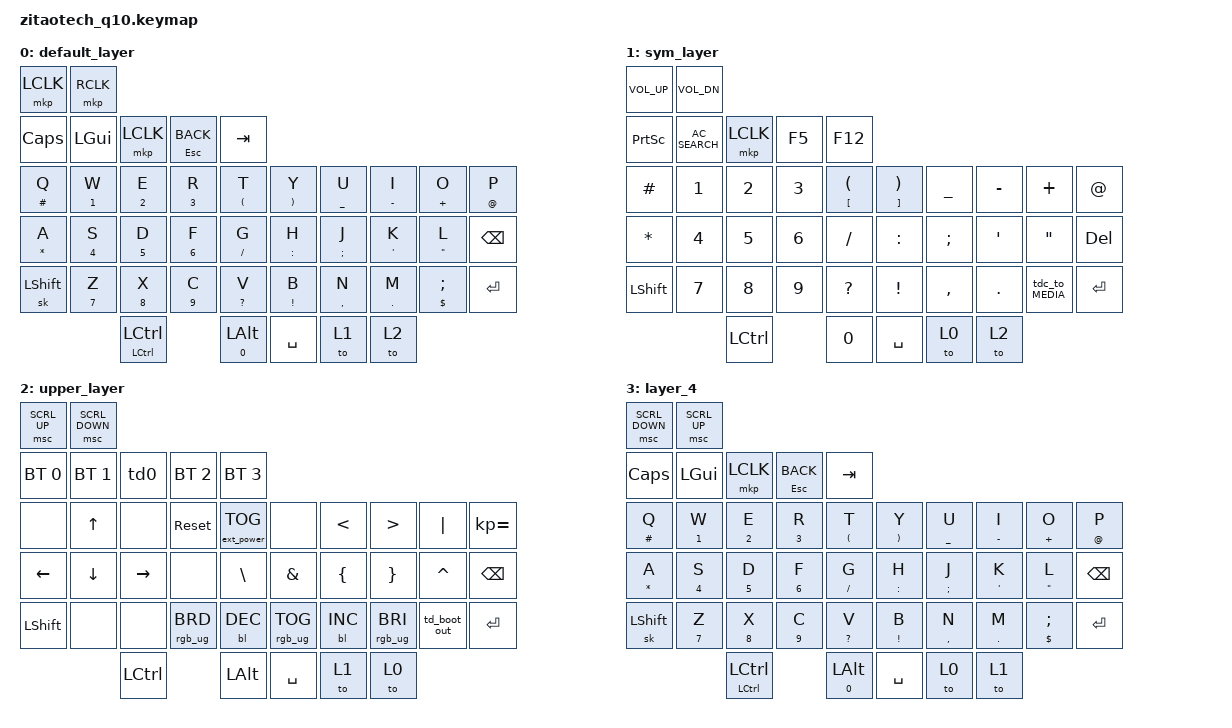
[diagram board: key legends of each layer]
/*
 * Copyright (c) 2023 ZitaoTech
 *
 * SPDX-License-Identifier: MIT
 */

#include <dt-bindings/zmk/mouse.h>
#include <zephyr/dt-bindings/input/input-event-codes.h>
#include <behaviors.dtsi>
#include <dt-bindings/zmk/backlight.h>
#include <dt-bindings/zmk/bt.h>
#include <dt-bindings/zmk/ext_power.h>
#include <dt-bindings/zmk/keys.h>
#include <dt-bindings/zmk/outputs.h>
#include <dt-bindings/zmk/pointing.h>
#include <dt-bindings/zmk/rgb.h>

#define DEFAULT 0
#define SYM 1
#define UPPER 2
#define MEDIA 3

#define SL_TO(layer) &sl_to layer layer //tap -> sticky layer, double tap -> to layer

&sl { release-after-ms = <3000>; };

/ {
    behaviors {
        num_tap: num_tap_behavior {
            compatible = "zmk,behavior-hold-tap";
            label = "NUM_TAP";
            #binding-cells = <2>;
            flavor = "tap-preferred";   // Prevents accidental numbers while typing fast
            tapping-term-ms = <200>;     // How long to hold before the number fires
            bindings = <&kp>, <&kp>;

            // Accepts two standard keypresses
        };
    };

    behaviors {
        td0: tap_dance_0 {
            compatible = "zmk,behavior-tap-dance";
            #binding-cells = <0>;
            tapping-term-ms = <400>;
            bindings = <&mkp LCLK>, <&bt BT_CLR>;
        };
    };

    behaviors {
        td_boot_out: td_boot_out {
            compatible = "zmk,behavior-tap-dance";
            #binding-cells = <0>;
            tapping-term-ms = <400>;
            bindings = <&bootloader>, <&out OUT_TOG>;
        };
    };

    behaviors {
        tdc_to_SYM: td_comma_to_layer {
            compatible = "zmk,behavior-tap-dance";
            #binding-cells = <0>;
            tapping-term-ms = <400>;
            bindings = <&mt DLLR SEMI>, <&to 1>;
        };
    };

    behaviors {
        tdc_to_MEDIA: td_mute_to_layer {
            compatible = "zmk,behavior-tap-dance";
            #binding-cells = <0>;
            tapping-term-ms = <400>;
            bindings = <&kp C_MUTE>, <&to 0>;
        };
    };

    behaviors {
        td1: tap_stickylayer_doubletap_tolayer_1 {
            compatible = "zmk,behavior-tap-dance";
            #binding-cells = <0>;
            tapping-term-ms = <400>;
            bindings = <&sl 1>, <&to 1>;
        };
    };

    behaviors {
        td2: tap_stickylayer_doubletap_tolayer_2 {
            compatible = "zmk,behavior-tap-dance";
            #binding-cells = <0>;
            tapping-term-ms = <400>;
            bindings = <&sl 2>, <&to 2>;
        };
    };

    behaviors {
        sk_kp: behavior_sk_kp {
            compatible = "zmk,behavior-hold-tap";
            #binding-cells = <2>;
            flavor = "hold-preferred";
            tapping-term-ms = <400>;
            bindings = <&kp &sk>;          /* hold=kp, tap=sticky key */
        };
    };

    behaviors {
        hm: homerow_mods {
            compatible = "zmk,behavior-hold-tap";
            #binding-cells = <2>;
            tapping-term-ms = <500>;
            bindings = <&out &kp>;
        };
    };

    keymap {
        compatible = "zmk,keymap";

        default_layer {
            bindings = <
&mkp LCLK            &mkp RCLK
&kp CLCK             &kp LGUI       &mkp LCLK           &mt ESC K_BACK       &kp TAB
&num_tap HASH Q      &num_tap N1 W  &num_tap N2 E       &num_tap NUMBER_3 R  &num_tap LEFT_PARENTHESIS T  &num_tap RIGHT_PARENTHESIS Y    &num_tap UNDERSCORE U  &num_tap MINUS I       &num_tap PLUS O           &num_tap AT_SIGN P
&num_tap ASTERISK A  &num_tap N4 S  &num_tap N5 D       &num_tap N6 F        &num_tap SLASH G             &num_tap COLON H                &num_tap SEMICOLON J   &num_tap APOSTROPHE K  &num_tap DOUBLE_QUOTES L  &kp BSPC
&sk LSHFT            &num_tap N7 Z  &num_tap N8 X       &num_tap N9 C        &num_tap QUESTION V          &num_tap EXCLAMATION B          &num_tap COMMA N       &num_tap PERIOD M      &mt DLLR SEMI             &kp ENTER
                                    &sk_kp LCTRL LCTRL                       &num_tap N0 LALT             &kp SPACE                       &to 1                  &to 2
            >;
        };

        sym_layer {
            bindings = <
&kp C_VOL_UP  &kp C_VOL_DN
&kp PSCRN     &kp C_AC_SEARCH  &mkp LCLK  &kp F5  &kp F12
&kp HASH      &kp N1           &kp N2     &kp N3  &mt LBKT LPAR  &mt RBKT RPAR    &kp UNDER  &kp MINUS  &kp PLUS       &kp AT
&kp STAR      &kp N4           &kp N5     &kp N6  &kp SLASH      &kp COLON        &kp SEMI   &kp APOS   &kp DQT        &kp DEL
&kp LSHFT     &kp N7           &kp N8     &kp N9  &kp QMARK      &kp EXCL         &kp COMMA  &kp DOT    &tdc_to_MEDIA  &kp ENTER
                               &kp LCTRL          &kp N0         &kp SPACE        &to 0      &to 2
            >;
        };

        upper_layer {
            bindings = <
&msc SCRL_UP  &msc SCRL_DOWN
&bt BT_SEL 0  &bt BT_SEL 1    &td0       &bt BT_SEL 2     &bt BT_SEL 3
&none         &kp UP          &none      &sys_reset       &ext_power EP_TOG  &none              &kp LT      &kp GT           &kp PIPE      &kp KP_EQUAL
&kp LEFT      &kp DOWN        &kp RIGHT  &none            &kp BSLH           &kp AMPS           &kp LBRC    &kp RBRC         &kp CARET     &kp BSPC
&kp LSHFT     &none           &none      &rgb_ug RGB_BRD  &bl BL_DEC         &rgb_ug RGB_TOG    &bl BL_INC  &rgb_ug RGB_BRI  &td_boot_out  &kp ENTER
                              &kp LCTRL                   &kp LALT           &kp SPACE          &to 1       &to 0
            >;
        };

        layer_4 {
            bindings = <
&msc SCRL_DOWN       &msc SCRL_UP
&kp CLCK             &kp LGUI       &mkp LCLK           &mt ESC K_BACK       &kp TAB
&num_tap HASH Q      &num_tap N1 W  &num_tap N2 E       &num_tap NUMBER_3 R  &num_tap LEFT_PARENTHESIS T  &num_tap RIGHT_PARENTHESIS Y    &num_tap UNDERSCORE U  &num_tap MINUS I       &num_tap PLUS O           &num_tap AT_SIGN P
&num_tap ASTERISK A  &num_tap N4 S  &num_tap N5 D       &num_tap N6 F        &num_tap SLASH G             &num_tap COLON H                &num_tap SEMICOLON J   &num_tap APOSTROPHE K  &num_tap DOUBLE_QUOTES L  &kp BSPC
&sk LSHFT            &num_tap N7 Z  &num_tap N8 X       &num_tap N9 C        &num_tap QUESTION V          &num_tap EXCLAMATION B          &num_tap COMMA N       &num_tap PERIOD M      &mt DLLR SEMI             &kp ENTER
                                    &sk_kp LCTRL LCTRL                       &num_tap N0 LALT             &kp SPACE                       &to 0                  &to 1
            >;
        };
    };
};
